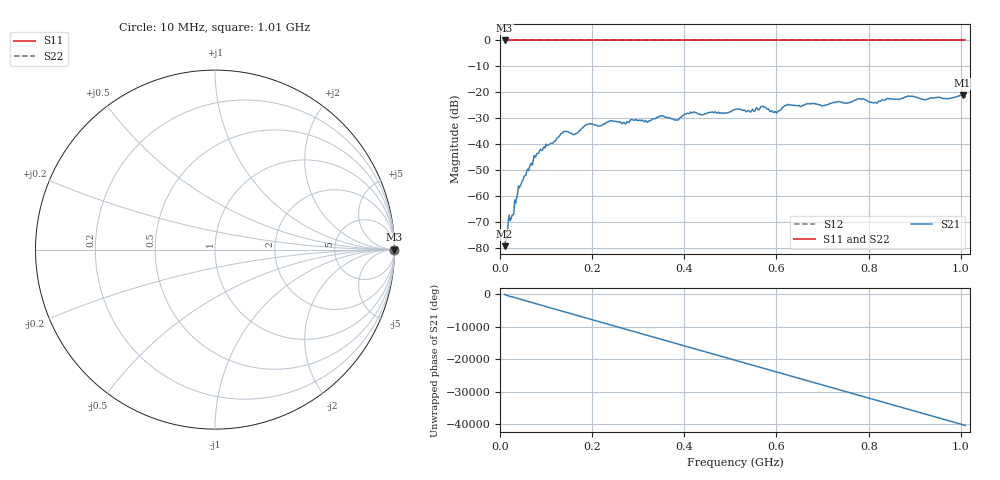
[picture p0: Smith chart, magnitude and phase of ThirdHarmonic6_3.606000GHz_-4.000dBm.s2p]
! 8/17/2025 12:02:01 PM
! C:\ANRITSUVNA\TEMP\TEMP.S2P
! CHANNEL.1
! TR.MEASUREMENT
! RAW.DATA
! RF.CORRECTION.OFF
! AVERAGING.OFF
! IF.BANDWIDTH: 5KHZ
! SWEEPTYPE:  FREQ.SWEEP(Linear)
! Reference Plane Port Info
! PORT:  PORT1  PORT2
! DISTANCE:  0  m  0  m
! TIME:  0  s  0  s
! PHASE.OFFSET:  0  deg.  0  deg.
! LOSS:  0  dB  0  dB
! REF.LOSS:  0  dB  0  dB
! REF.FREQ:  0  Hz  0  Hz
! Power Info
! POWER:  -20  dBm  -20  dBm
! EFF.POWER:  -20  dBm  -20  dBm
! SOURCE.ATTEN:  0  dB  0  dB
! TEST.ATTEN:  0  dB  0  dB
# GHZ S RI R 50.0
! FREQ.GHZ  S11RE  S11IM  S21RE  S21IM  S12RE  S12IM  S22RE  S22IM
!; PortSelection: Port_12
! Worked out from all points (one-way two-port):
!   501 points, 10 MHz to 1.01 GHz, reference 50 ohm
!   highest |S21| = -21.17 dB at 1.004 GHz (marker M1); lowest = -79.4 dB at 10 MHz (marker M2)
!   lowest |S11| = 0.0 dB at 10 MHz (marker M3)
!   |S11| at or under -10 dB: nowhere
!   |S22| runs from 0.0 to 0.0 dB; largest |S21 - S12| = 1.1
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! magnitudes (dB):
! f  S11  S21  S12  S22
! 10 MHz  0.0  -79.4  0.0  0.0
! 22 MHz  0.0  -69.5  0.0  0.0
! 26 MHz  0.0  -67.5  0.0  0.0
! 44 MHz  0.0  -56.1  0.0  0.0
! 78 MHz  0.0  -44.6  0.0  0.0
! 136 MHz  0.0  -35.7  0.0  0.0
! 162 MHz  0.0  -36.3  0.0  0.0
! 178 MHz  0.0  -33.8  0.0  0.0
! 192 MHz  0.0  -32.3  0.0  0.0
! 322 MHz  0.0  -31.2  0.0  0.0
! 344 MHz  0.0  -29.6  0.0  0.0
! 384 MHz  0.0  -30.7  0.0  0.0
! 418 MHz  0.0  -28.0  0.0  0.0
! 510 MHz  0.0  -26.6  0.0  0.0
! 540 MHz  0.0  -27.1  0.0  0.0
! 570 MHz  0.0  -25.4  0.0  0.0
! 598 MHz  0.0  -27.5  0.0  0.0
! 622 MHz  0.0  -25.0  0.0  0.0
! 678 MHz  0.0  -24.3  0.0  0.0
! 844 MHz  0.0  -22.5  0.0  0.0
! 1.004 GHz  0.0  -21.2  0.0  0.0
! 1.01 GHz  0.0  -21.8  0.0  0.0
